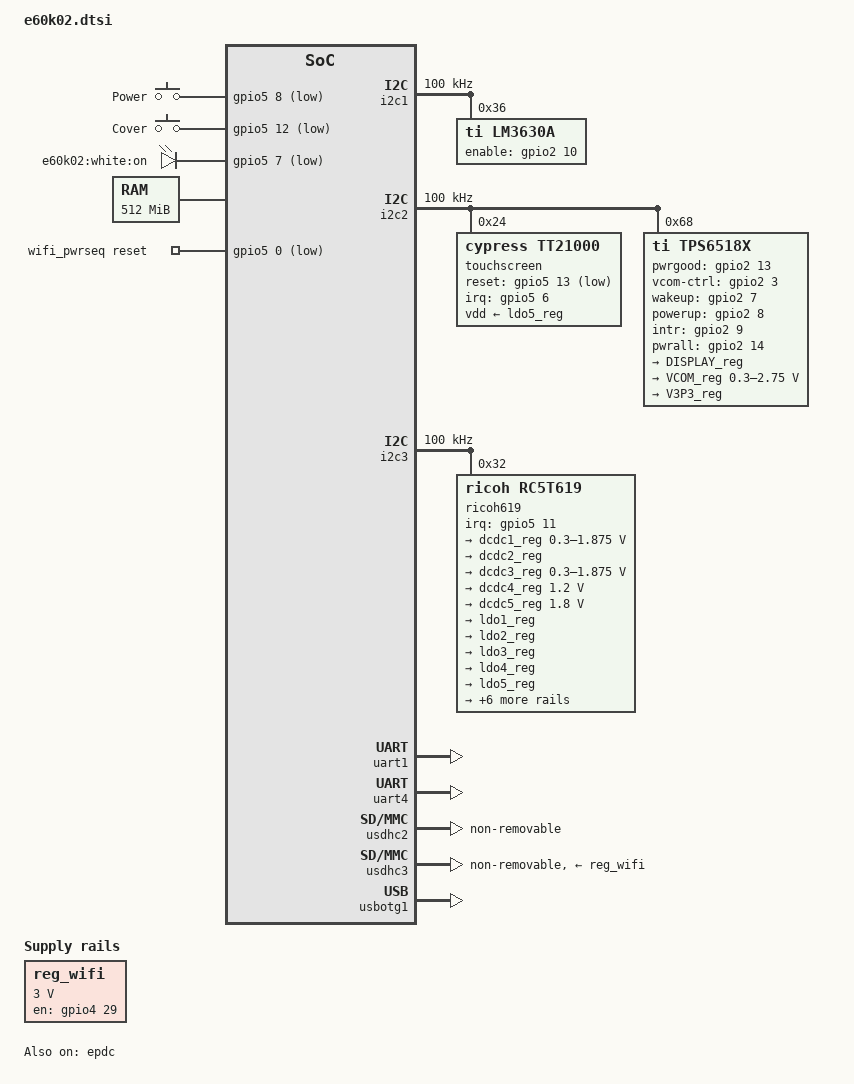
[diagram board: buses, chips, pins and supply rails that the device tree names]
// SPDX-License-Identifier: GPL-2.0
/*
 * Copyright 2019 Andreas Kemnade
 * based on works
 * Copyright 2016 Freescale Semiconductor, Inc.
 * and
 * Copyright (C) 2014 Ricoh Electronic Devices Co., Ltd
 *
 * Netronix E60K02 board common.
 * This board is equipped with different SoCs and
 * found in ebook-readers like the Kobo Clara HD (with i.MX6SLL) and
 * the Tolino Shine 3 (with i.MX6SL)
 */
#include <dt-bindings/input/input.h>

/ {
	aliases {
		mmc0 = &usdhc2;
		mmc1 = &usdhc3;
	};

	chosen {
		stdout-path = &uart1;
	};

	gpio_keys: gpio-keys {
		compatible = "gpio-keys";

		key-power {
			label = "Power";
			gpios = <&gpio5 8 GPIO_ACTIVE_LOW>;
			linux,code = <KEY_POWER>;
			wakeup-source;
		};

		key-cover {
			label = "Cover";
			gpios = <&gpio5 12 GPIO_ACTIVE_LOW>;
			linux,code = <SW_LID>;
			linux,input-type = <EV_SW>;
			wakeup-source;
		};
	};

	leds: leds {
		compatible = "gpio-leds";

		led {
			label = "e60k02:white:on";
			gpios = <&gpio5 7 GPIO_ACTIVE_LOW>;
			linux,default-trigger = "timer";
		};
	};

	memory@80000000 {
		device_type = "memory";
		reg = <0x80000000 0x20000000>;
	};

	reg_wifi: regulator-wifi {
		compatible = "regulator-fixed";
		regulator-name = "SD3_SPWR";
		regulator-min-microvolt = <3000000>;
		regulator-max-microvolt = <3000000>;
		gpio = <&gpio4 29 GPIO_ACTIVE_HIGH>;
		enable-active-high;
	};

	thermal-zones {
		epd-thermal {
			polling-delay = <10000>;
			polling-delay-passive = <10000>;
			thermal-sensors = <&tps6518x>;

			trips {
			};
		};
	};

	wifi_pwrseq: wifi_pwrseq {
		compatible = "mmc-pwrseq-simple";
		post-power-on-delay-ms = <20>;
		reset-gpios = <&gpio5 0 GPIO_ACTIVE_LOW>;
	};
};

&epdc {
	safe-ticks-turnoff-ep3v3=<800>;
	V3P3-supply = <&V3P3_reg>;      
	VCOM-supply = <&VCOM_reg>;      
	DISPLAY-supply = <&DISPLAY_reg>; 
	epd-thermal-zone = "epd-thermal";

	vscan-holdoff = <4>;
	sdoed-width = <10>;
	sdoed-delay = <20>;
	sdoez-width = <10>;
	sdoez-delay = <20>;
	gdclk-hp-offs = <562>;
	gdsp-offs = <662>;
	gdoe-offs = <0>;
	gdclk-offs = <225>;
	num-ce = <3>;

	status = "okay";

	timing {
		clock-frequency = <80000000>;
		hactive = <1448>;
		hback-porch = <16>;
		hfront-porch = <102>;
		hsync-len = <28>;
		vactive = <1072>;
		vback-porch = <4>;
		vfront-porch = <4>;
		vsync-len = <2>;
	};
};

&i2c1 {
	clock-frequency = <100000>;
	status = "okay";

	lm3630a: backlight@36 {
		reg = <0x36>;
		compatible = "ti,lm3630a";
		enable-gpios = <&gpio2 10 GPIO_ACTIVE_HIGH>;

		#address-cells = <1>;
		#size-cells = <0>;

		led@0 {
			reg = <0>;
			led-sources = <0>;
			label = "backlight_warm";
			default-brightness = <0>;
			max-brightness = <255>;
		};

		led@1 {
			reg = <1>;
			led-sources = <1>;
			label = "backlight_cold";
			default-brightness = <0>;
			max-brightness = <255>;
		};
	};
};

&i2c2 {
	clock-frequency = <100000>;
	status = "okay";

	touchscreen@24 {
		compatible = "cypress,tt21000";
		reg = <0x24>;
		pinctrl-names = "default";
		pinctrl-0 = <&pinctrl_cyttsp5_gpio>;
		interrupt-parent = <&gpio5>;
		interrupts = <6 IRQ_TYPE_EDGE_FALLING>;
		reset-gpios = <&gpio5 13 GPIO_ACTIVE_LOW>;
		vdd-supply = <&ldo5_reg>;
	};

	tps6518x: epdc-pmic@68 {
		compatible = "ti,tps6518x";
		reg = <0x68>;
		/*
		 * power sequencing for TPS65180/65181
		 */
		pwr_seq0 = <0xe1>; /* [Vddh-seq=3 | Vpos-seq=2 | Vee-seq=0 | Vneg-seq=1] */
		pwr_seq1 = <0x30>; /* [Vneg-dly1=3 |Vee-dly0=0]  mSec */
		pwr_seq2 = <0x33>; /* [Vddh-dly3=3 | Vpos-dly2=3] mSec */

                /*
                 * power sequencing for TPS65185/65186
                 */
                upseq0 = <0xe1>;
                upseq1 = <0x00>;
                dwnseq0 = <0x1e>;
                dwnseq1 = <0xe0>;

		pwrgood-gpios = <&gpio2 13 0>;
		vcom-ctrl-gpios = <&gpio2 3 GPIO_ACTIVE_HIGH>;
		wakeup-gpios = <&gpio2 7 0>;
		powerup-gpios = <&gpio2 8 GPIO_ACTIVE_HIGH>;
		intr-gpios = <&gpio2 9 0>;

		/* gpio_pmic_v3p3 = <&gpio2 14 GPIO_ACTIVE_HIGH>; */
		pwrall-gpios = <&gpio2 14 GPIO_ACTIVE_HIGH>;

		#thermal-sensor-cells = <0>;

		regulators {
			DISPLAY_reg: DISPLAY {
				regulator-name = "DISPLAY";
			};

			VCOM_reg: VCOM {
				regulator-name = "VCOM";
				regulator-max-microvolt = <2750000>;
				regulator-min-microvolt = <300000>;
			};

			V3P3_reg: V3P3 {
				regulator-name = "V3P3";
			};

		};
	};


};

&i2c3 {
	clock-frequency = <100000>;
	status = "okay";

	ricoh619: pmic@32 {
		compatible = "ricoh,rc5t619";
		reg = <0x32>;
		interrupt-parent = <&gpio5>;
		interrupts = <11 IRQ_TYPE_LEVEL_LOW>;
		system-power-controller;

		regulators {
			dcdc1_reg: DCDC1 {
				regulator-name = "DCDC1";
				regulator-min-microvolt = <300000>;
				regulator-max-microvolt = <1875000>;
				regulator-always-on;
				regulator-boot-on;

				regulator-state-mem {
					regulator-on-in-suspend;
					regulator-suspend-max-microvolt = <900000>;
					regulator-suspend-min-microvolt = <900000>;
				};
			};

			/* Core3_3V3 */
			dcdc2_reg: DCDC2 {
				regulator-name = "DCDC2";
				regulator-always-on;
				regulator-boot-on;

				regulator-state-mem {
					regulator-on-in-suspend;
					regulator-suspend-max-microvolt = <3300000>;
					regulator-suspend-min-microvolt = <3300000>;
				};
			};

			dcdc3_reg: DCDC3 {
				regulator-name = "DCDC3";
				regulator-min-microvolt = <300000>;
				regulator-max-microvolt = <1875000>;
				regulator-always-on;
				regulator-boot-on;

				regulator-state-mem {
					regulator-on-in-suspend;
					regulator-suspend-max-microvolt = <1140000>;
					regulator-suspend-min-microvolt = <1140000>;
				};
			};

			/* Core4_1V2 */
			dcdc4_reg: DCDC4 {
				regulator-name = "DCDC4";
				regulator-min-microvolt = <1200000>;
				regulator-max-microvolt = <1200000>;
				regulator-always-on;
				regulator-boot-on;

				regulator-state-mem {
					regulator-on-in-suspend;
					regulator-suspend-max-microvolt = <1140000>;
					regulator-suspend-min-microvolt = <1140000>;
				};
			};

			/* Core4_1V8 */
			dcdc5_reg: DCDC5 {
				regulator-name = "DCDC5";
				regulator-min-microvolt = <1800000>;
				regulator-max-microvolt = <1800000>;
				regulator-always-on;
				regulator-boot-on;

				regulator-state-mem {
					regulator-on-in-suspend;
					regulator-suspend-max-microvolt = <1700000>;
					regulator-suspend-min-microvolt = <1700000>;
				};
			};

			/* IR_3V3 */
			ldo1_reg: LDO1  {
				regulator-name = "LDO1";
				regulator-boot-on;
			};

			/* Core1_3V3 */
			ldo2_reg: LDO2  {
				regulator-name = "LDO2";
				regulator-always-on;
				regulator-boot-on;

				regulator-state-mem {
					regulator-on-in-suspend;
					regulator-suspend-max-microvolt = <3000000>;
					regulator-suspend-min-microvolt = <3000000>;
				};
			};

			/* Core5_1V2 */
			ldo3_reg: LDO3  {
				regulator-name = "LDO3";
				regulator-always-on;
				regulator-boot-on;
			};

			ldo4_reg: LDO4 {
				regulator-name = "LDO4";
				regulator-boot-on;
			};

			/* SPD_3V3 */
			ldo5_reg: LDO5 {
				regulator-name = "LDO5";
				regulator-always-on;
				regulator-boot-on;
			};

			/* DDR_0V6 */
			ldo6_reg: LDO6 {
				regulator-name = "LDO6";
				regulator-always-on;
				regulator-boot-on;
			};

			/* VDD_PWM */
			ldo7_reg: LDO7 {
				regulator-name = "LDO7";
				regulator-always-on;
				regulator-boot-on;
			};

			/* ldo_1v8 */
			ldo8_reg: LDO8 {
				regulator-name = "LDO8";
				regulator-min-microvolt = <1800000>;
				regulator-max-microvolt = <1800000>;
				regulator-always-on;
				regulator-boot-on;
			};

			ldo9_reg: LDO9 {
				regulator-name = "LDO9";
				regulator-boot-on;
			};

			ldo10_reg: LDO10 {
				regulator-name = "LDO10";
				regulator-boot-on;
			};

			ldortc1_reg: LDORTC1  {
				regulator-name = "LDORTC1";
				regulator-boot-on;
			};
		};
	};
};

&snvs_rtc {
	/* we are using the rtc in the pmic, not disabled in imx6sll.dtsi */
	status = "disabled";
};

&uart1 {
	/* J4, through-hole */
	status = "okay";
};

&uart4 {
	/* TP198, next to J4, SMD pads */
	status = "okay";
};

&usdhc2 {
	non-removable;
	status = "okay";
};

&usdhc3 {
	vmmc-supply = <&reg_wifi>;
	mmc-pwrseq = <&wifi_pwrseq>;
	cap-power-off-card;
	non-removable;
	status = "okay";
};

&usbotg1 {
	pinctrl-names = "default";
	pinctrl-0 = <&pinctrl_usbotg1>;
	disable-over-current;
	srp-disable;
	hnp-disable;
	adp-disable;
	status = "okay";
};
